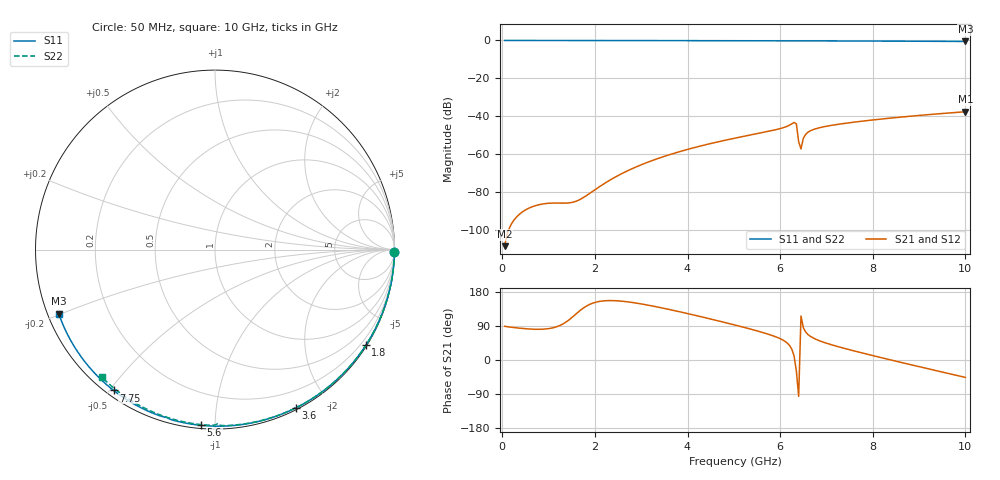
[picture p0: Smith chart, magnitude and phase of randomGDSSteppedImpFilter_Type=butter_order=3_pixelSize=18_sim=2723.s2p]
! freq	dB(S11)	phase(S11)	dB(S12)	phase(S12)
!  dB(S21)	phase(S21)	dB(S22)	phase(S22)
!S-par simulation data
#  GHz  S  DB  R 50
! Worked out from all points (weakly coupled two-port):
!   200 points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, 50 MHz to 10 GHz, reference 50 ohm
!   highest |S21| = -37.62 dB at 10 GHz (marker M1); lowest = -108.5 dB at 50 MHz (marker M2)
!   lowest |S11| = -0.5 dB at 10 GHz (marker M3), VSWR 32.87, Z = 1.58 - j9.83 ohm
!   |S11| at or under -10 dB: nowhere
!   |S22| runs from -0.4 to 0.0 dB; largest |S21 - S12| = 0
!   S11 on the Smith chart (normalised r, x): 50 MHz: open; 1.8 GHz: 0.03, -3.44; 3.6 GHz: 0.02, -1.63; 5.6 GHz: 0.02, -0.92; 7.75 GHz: 0.02, -0.51; 10 GHz: 0.03, -0.20
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0.05  -0.00 -0.9  -108.55 88.9  -108.55 88.9  -0.00 -0.8
0.9  -0.02 -16.4  -86.17 81.5  -86.17 81.5  -0.02 -13.6
1.75  -0.04 -31.5  -82.92 137.0  -82.92 137.0  -0.03 -26.2
1.8  -0.04 -32.4  -82.15 141.0  -82.15 141.0  -0.03 -27.0
1.95  -0.04 -35.0  -79.65 149.9  -79.65 149.9  -0.04 -29.2
2.6  -0.06 -46.3  -70.02 155.0  -70.02 155.0  -0.05 -38.6
3.4  -0.08 -59.7  -61.96 138.6  -61.96 138.6  -0.07 -49.9
3.6  -0.08 -63.0  -60.36 133.5  -60.36 133.5  -0.07 -52.7
5.05  -0.13 -86.1  -51.42 91.5  -51.42 91.5  -0.11 -72.3
5.6  -0.16 -94.5  -48.70 73.4  -48.70 73.4  -0.13 -79.4
6.05  -0.18 -101.2  -46.16 53.3  -46.16 53.3  -0.15 -85.2
6.3  -0.20 -105.1  -43.27 11.1  -43.27 11.1  -0.20 -88.6
6.35  -0.23 -105.8  -44.02 -28.9  -44.02 -28.9  -0.27 -89.2
6.4  -0.23 -106.3  -53.50 -95.9  -53.50 -95.9  -0.26 -89.2
6.45  -0.22 -107.0  -57.24 116.1  -57.24 116.1  -0.21 -89.7
6.5  -0.21 -107.7  -51.65 85.2  -51.65 85.2  -0.20 -90.4
6.55  -0.21 -108.5  -49.59 74.2  -49.59 74.2  -0.19 -91.1
6.7  -0.22 -110.7  -47.17 59.1  -47.17 59.1  -0.19 -93.0
7.05  -0.24 -115.8  -45.04 42.4  -45.04 42.4  -0.20 -97.3
7.75  -0.29 -125.8  -42.65 19.2  -42.65 19.2  -0.25 -105.7
8.35  -0.35 -134.2  -41.05 1.2  -41.05 1.2  -0.29 -112.7
10  -0.53 -157.7  -37.62 -46.0  -37.62 -46.0  -0.45 -131.5
